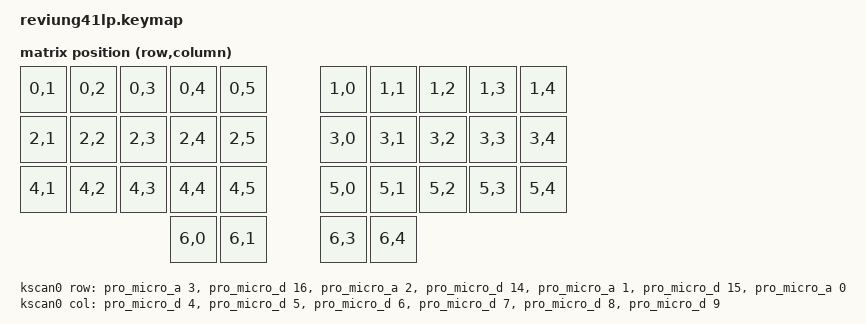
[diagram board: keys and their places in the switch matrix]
/* modified from https://github.com/cyril279/zmk-config/blob/main/config/reviung41.overlay thanks cyril <3 */
/*
 * Copyright (c) 2020 The ZMK Contributors
 *
 * SPDX-License-Identifier: MIT
 */

#include "standard-keymap.keymap"
#include <dt-bindings/zmk/matrix_transform.h>

/ {
    chosen {
        zmk,kscan = &kscan0;
        zmk,matrix_transform = &reviung41lp_transform;
    };

    reviung41lp_transform: reviung41lp_transform {
        compatible = "zmk,matrix-transform";
        columns = <6>;
        rows = <7>;

        map = <
            RC(0,1) RC(0,2) RC(0,3) RC(0,4) RC(0,5)           RC(1,0) RC(1,1) RC(1,2) RC(1,3) RC(1,4)
            RC(2,1) RC(2,2) RC(2,3) RC(2,4) RC(2,5)           RC(3,0) RC(3,1) RC(3,2) RC(3,3) RC(3,4)
            RC(4,1) RC(4,2) RC(4,3) RC(4,4) RC(4,5)           RC(5,0) RC(5,1) RC(5,2) RC(5,3) RC(5,4)
                                    RC(6,0) RC(6,1)           RC(6,3) RC(6,4)
        >;
    };

    kscan0: kscan_0 {
        compatible = "zmk,kscan-gpio-matrix";
        label = "KSCAN";
        diode-direction = "col2row";

        col-gpios
            = <&pro_micro_d 4 GPIO_ACTIVE_HIGH>
            , <&pro_micro_d 5 GPIO_ACTIVE_HIGH>
            , <&pro_micro_d 6 GPIO_ACTIVE_HIGH>
            , <&pro_micro_d 7 GPIO_ACTIVE_HIGH>
            , <&pro_micro_d 8 GPIO_ACTIVE_HIGH>
            , <&pro_micro_d 9 GPIO_ACTIVE_HIGH>
            ;

        row-gpios
            = <&pro_micro_a 3 (GPIO_ACTIVE_HIGH | GPIO_PULL_DOWN)>
            , <&pro_micro_d 16 (GPIO_ACTIVE_HIGH | GPIO_PULL_DOWN)>
            , <&pro_micro_a 2 (GPIO_ACTIVE_HIGH | GPIO_PULL_DOWN)>
            , <&pro_micro_d 14 (GPIO_ACTIVE_HIGH | GPIO_PULL_DOWN)>
            , <&pro_micro_a 1 (GPIO_ACTIVE_HIGH | GPIO_PULL_DOWN)>
            , <&pro_micro_d 15 (GPIO_ACTIVE_HIGH | GPIO_PULL_DOWN)>
            , <&pro_micro_a 0 (GPIO_ACTIVE_HIGH | GPIO_PULL_DOWN)>
            ;
    };
};
